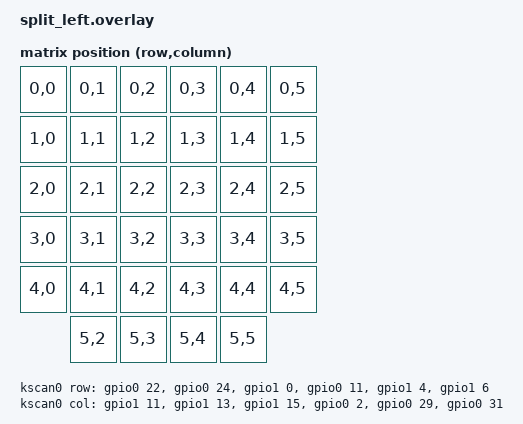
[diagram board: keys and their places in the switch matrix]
/ {
    chosen {
        zmk,kscan            = &kscan0;
        zmk,matrix-transform = &matrix_transform;
    };

    kscan0: kscan {
        compatible = "zmk,kscan-gpio-matrix";

        row-gpios = <
            &gpio0 22 GPIO_ACTIVE_LOW
            &gpio0 24 GPIO_ACTIVE_LOW
            &gpio1  0 GPIO_ACTIVE_LOW
            &gpio0 11 GPIO_ACTIVE_LOW
            &gpio1  4 GPIO_ACTIVE_LOW
            &gpio1  6 GPIO_ACTIVE_LOW
        >;

        col-gpios = <
            &gpio1 11 GPIO_ACTIVE_LOW
            &gpio1 13 GPIO_ACTIVE_LOW
            &gpio1 15 GPIO_ACTIVE_LOW
            &gpio0  2 GPIO_ACTIVE_LOW
            &gpio0 29 GPIO_ACTIVE_LOW
            &gpio0 31 GPIO_ACTIVE_LOW
        >;

        diode-direction     = COL2ROW;
        debounce-press-ms   = <1>;
        debounce-release-ms = <5>;
    };

    matrix_transform: matrix-transform {
        compatible = "zmk,matrix-transform";
        rows    = <6>;
        columns = <6>;
        map = <
            RC(0,0) RC(0,1) RC(0,2) RC(0,3) RC(0,4) RC(0,5)
            RC(1,0) RC(1,1) RC(1,2) RC(1,3) RC(1,4) RC(1,5)
            RC(2,0) RC(2,1) RC(2,2) RC(2,3) RC(2,4) RC(2,5)
            RC(3,0) RC(3,1) RC(3,2) RC(3,3) RC(3,4) RC(3,5)
            RC(4,0) RC(4,1) RC(4,2) RC(4,3) RC(4,4) RC(4,5)
                        RC(5,2) RC(5,3) RC(5,4) RC(5,5)
        >;
    };
};
